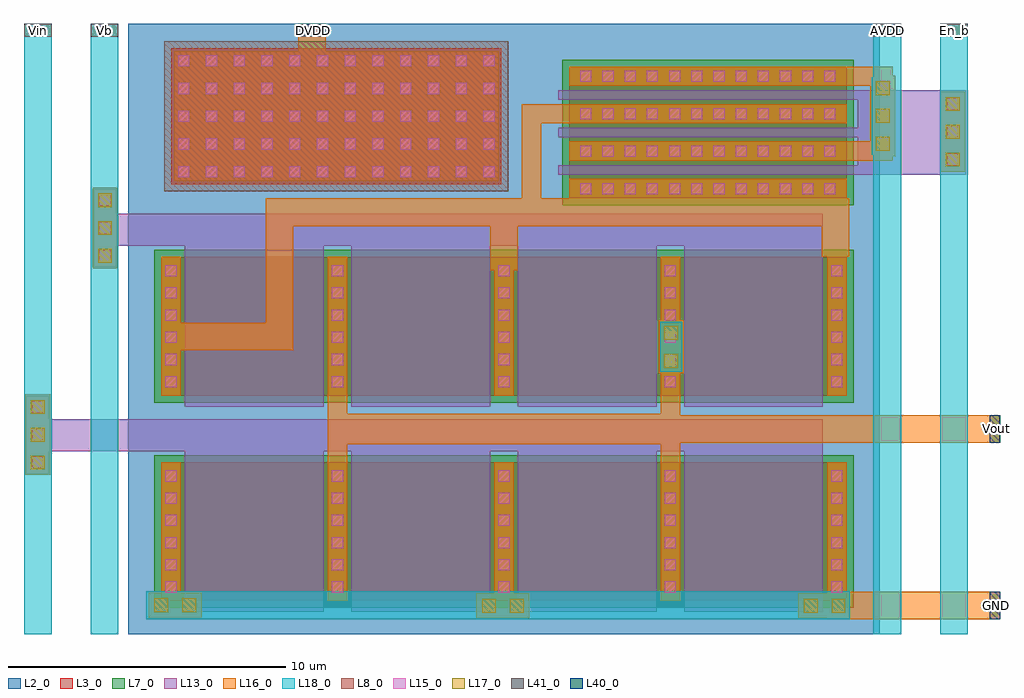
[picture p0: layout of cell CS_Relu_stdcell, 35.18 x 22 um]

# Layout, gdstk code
from math import pi, radians
import gdstk
lib = gdstk.Library(unit=1e-6, precision=1e-09)
def R(c, l, rs):  # rectangles x0, y0, x1, y1
    for r in rs: c.add(gdstk.rectangle(r[:2], r[2:], *l))
def A(c, l, x, y, w, h, nx, ny, dx, dy):  # array of equal rectangles
    R(c, l, [(x+i*dx, y+j*dy, x+i*dx+w, y+j*dy+h) for i in range(nx) for j in range(ny)])
L2_0 = (2, 0)
L3_0 = (3, 0)
L7_0 = (7, 0)
L8_0 = (8, 0)
L13_0 = (13, 0)
L15_0 = (15, 0)
L16_0 = (16, 0)
L17_0 = (17, 0)
L18_0 = (18, 0)
L40_0 = (40, 0)
L41_0 = (41, 0)

pch_cdns_760367778550 = lib.new_cell('pch_CDNS_760367778550')
R(pch_cdns_760367778550, L2_0, [(-2.05,-1.2,5.1,11.2)])
A(pch_cdns_760367778550, L3_0, -0.85, 0, 0.7, 10, 4, 1, 1.35, 0)
A(pch_cdns_760367778550, L3_0, -0.15, 0, 0.65, 10, 3, 1, 1.35, 0)
R(pch_cdns_760367778550, L3_0, [(-0.85,0,-0.15,10), (3.2,0,3.9,10)])
R(pch_cdns_760367778550, L7_0, [(-1.1,-0.25,4.15,10.25)])
A(pch_cdns_760367778550, L13_0, 0, -0.4, 0.35, 10.8, 3, 1, 1.35, 0)
A(pch_cdns_760367778550, L15_0, -0.7, 0.4, 0.4, 0.4, 4, 12, 1.35, 0.8)
A(pch_cdns_760367778550, L16_0, -0.85, 0, 0.7, 10, 4, 1, 1.35, 0)
pch_cdns_760367778550.add(gdstk.Label('D', (0.85,5), layer=59, texttype=0))
pch_cdns_760367778550.add(gdstk.Label('D', (3.55,5), layer=59, texttype=0))
pch_cdns_760367778550.add(gdstk.Label('S', (2.2,5), layer=59, texttype=0))
pch_cdns_760367778550.add(gdstk.Label('S', (-0.5,5), layer=59, texttype=0))
pch_cdns_760367778550.add(gdstk.Label('G', (2.875,5), layer=59, texttype=0))
pch_cdns_760367778550.add(gdstk.Label('G', (1.525,5), layer=59, texttype=0))
pch_cdns_760367778550.add(gdstk.Label('G', (0.175,5), layer=59, texttype=0))
pch_cdns_760367778550.add(gdstk.Label('& SerialNumber 000000', (0,0), layer=16, texttype=0))
pch_cdns_760367778550.add(gdstk.Label('& Distributor VIS', (0,0), layer=16, texttype=0))
pch_cdns_760367778550.add(gdstk.Label('& Metric 1', (0,0), layer=16, texttype=0))
pch_cdns_760367778550.add(gdstk.Label('& Version    \t  1.7A', (0,0), layer=16, texttype=0))
pch_cdns_760367778550.add(gdstk.Label('& PDKName     vis35cv', (0,0), layer=16, texttype=0))
pch_cdns_760367778550.add(gdstk.Label('& Vendor VIS Corp.', (0,0), layer=16, texttype=0))
pch_cdns_760367778550.add(gdstk.Label('& SerialNumber 000000', (0,0), layer=63, texttype=63))
pch_cdns_760367778550.add(gdstk.Label('& Distributor VIS', (0,0), layer=63, texttype=63))
pch_cdns_760367778550.add(gdstk.Label('& Metric 1', (0,0), layer=63, texttype=63))
pch_cdns_760367778550.add(gdstk.Label('& Version    \t  1.7A', (0,0), layer=63, texttype=63))
pch_cdns_760367778550.add(gdstk.Label('& PDKName     vis35cv', (0,0), layer=63, texttype=63))
pch_cdns_760367778550.add(gdstk.Label('& Vendor VIS Corp.', (0,0), layer=63, texttype=63))

pch_cdns_760367778551 = lib.new_cell('pch_CDNS_760367778551')
R(pch_cdns_760367778551, L2_0, [(-2.05,-1.2,25.05,6.2)])
A(pch_cdns_760367778551, L3_0, -0.85, 0, 0.7, 5, 5, 1, 6, 0)
A(pch_cdns_760367778551, L3_0, -0.15, 0, 5.3, 5, 4, 1, 6, 0)
R(pch_cdns_760367778551, L3_0, [(-0.85,0,-0.15,5), (23.15,0,23.85,5)])
R(pch_cdns_760367778551, L7_0, [(-1.1,-0.25,24.1,5.25)])
A(pch_cdns_760367778551, L13_0, 0, -0.4, 5, 5.8, 4, 1, 6, 0)
A(pch_cdns_760367778551, L15_0, -0.7, 0.3, 0.4, 0.4, 5, 6, 6, 0.8)
A(pch_cdns_760367778551, L16_0, -0.85, 0, 0.7, 5, 5, 1, 6, 0)
pch_cdns_760367778551.add(gdstk.Label('D', (17.5,2.5), layer=59, texttype=0))
pch_cdns_760367778551.add(gdstk.Label('D', (5.5,2.5), layer=59, texttype=0))
pch_cdns_760367778551.add(gdstk.Label('S', (11.5,2.5), layer=59, texttype=0))
pch_cdns_760367778551.add(gdstk.Label('S', (-0.5,2.5), layer=59, texttype=0))
pch_cdns_760367778551.add(gdstk.Label('S', (23.5,2.5), layer=59, texttype=0))
pch_cdns_760367778551.add(gdstk.Label('G', (20.5,2.5), layer=59, texttype=0))
pch_cdns_760367778551.add(gdstk.Label('G', (14.5,2.5), layer=59, texttype=0))
pch_cdns_760367778551.add(gdstk.Label('G', (8.5,2.5), layer=59, texttype=0))
pch_cdns_760367778551.add(gdstk.Label('G', (2.5,2.5), layer=59, texttype=0))
pch_cdns_760367778551.add(gdstk.Label('& SerialNumber 000000', (0,0), layer=16, texttype=0))
pch_cdns_760367778551.add(gdstk.Label('& Distributor VIS', (0,0), layer=16, texttype=0))
pch_cdns_760367778551.add(gdstk.Label('& Metric 1', (0,0), layer=16, texttype=0))
pch_cdns_760367778551.add(gdstk.Label('& Version    \t  1.7A', (0,0), layer=16, texttype=0))
pch_cdns_760367778551.add(gdstk.Label('& PDKName     vis35cv', (0,0), layer=16, texttype=0))
pch_cdns_760367778551.add(gdstk.Label('& Vendor VIS Corp.', (0,0), layer=16, texttype=0))
pch_cdns_760367778551.add(gdstk.Label('& SerialNumber 000000', (0,0), layer=63, texttype=63))
pch_cdns_760367778551.add(gdstk.Label('& Distributor VIS', (0,0), layer=63, texttype=63))
pch_cdns_760367778551.add(gdstk.Label('& Metric 1', (0,0), layer=63, texttype=63))
pch_cdns_760367778551.add(gdstk.Label('& Version    \t  1.7A', (0,0), layer=63, texttype=63))
pch_cdns_760367778551.add(gdstk.Label('& PDKName     vis35cv', (0,0), layer=63, texttype=63))
pch_cdns_760367778551.add(gdstk.Label('& Vendor VIS Corp.', (0,0), layer=63, texttype=63))

m2_m1_cdns_760367778550 = lib.new_cell('M2_M1_CDNS_760367778550')
R(m2_m1_cdns_760367778550, L16_0, [(-0.45,-0.95,0.45,0.95)])
R(m2_m1_cdns_760367778550, L17_0, [(-0.25,-0.75,0.25,-0.25), (-0.25,0.25,0.25,0.75)])
R(m2_m1_cdns_760367778550, L18_0, [(-0.4,-0.9,0.4,0.9)])

m2_m1_cdns_760367778551 = lib.new_cell('M2_M1_CDNS_760367778551')
R(m2_m1_cdns_760367778551, L16_0, [(-0.45,-1.45,0.45,1.45)])
A(m2_m1_cdns_760367778551, L17_0, -0.25, -1.25, 0.5, 0.5, 1, 3, 0, 1)
R(m2_m1_cdns_760367778551, L18_0, [(-0.4,-1.4,0.4,1.4)])

m1_poly1_cdns_7603677785 = lib.new_cell('M1_POLY1_CDNS_760367778552')
R(m1_poly1_cdns_7603677785, L13_0, [(-0.4,-1.4,0.4,1.4)])
A(m1_poly1_cdns_7603677785, L15_0, -0.2, -1.2, 0.4, 0.4, 1, 3, 0, 1)
R(m1_poly1_cdns_7603677785, L16_0, [(-0.45,-1.45,0.45,1.45)])

m2_m1_cdns_760367778553 = lib.new_cell('M2_M1_CDNS_760367778553')
R(m2_m1_cdns_760367778553, L16_0, [(-0.95,-0.45,0.95,0.45)])
R(m2_m1_cdns_760367778553, L17_0, [(-0.75,-0.25,-0.25,0.25), (0.25,-0.25,0.75,0.25)])
R(m2_m1_cdns_760367778553, L18_0, [(-0.9,-0.4,0.9,0.4)])

m1_nactive_cdns_76036777 = lib.new_cell('M1_NACTIVE_CDNS_760367778554')
R(m1_nactive_cdns_76036777, L3_0, [(-5.95,-2.45,5.95,2.45)])
R(m1_nactive_cdns_76036777, L8_0, [(-6.2,-2.7,6.2,2.7)])
A(m1_nactive_cdns_76036777, L15_0, -5.7, -2.2, 0.4, 0.4, 12, 5, 1, 1)
R(m1_nactive_cdns_76036777, L16_0, [(-5.85,-2.35,5.85,2.35)])

cs_relu_stdcell = lib.new_cell('CS_Relu_stdcell')
R(cs_relu_stdcell, L2_0, [(3.75,14.8,18.45,21.66), (3.75,21.66,30.85,22)])
R(cs_relu_stdcell, L13_0, [(0.52,6.6,28.79,7.75), (2.52,14,28.79,15.15), (30.05,16.56,33.96,19.61)])
R(cs_relu_stdcell, L16_0, [(11.29,6.85,23.26,7.95), (9.88,20.83,10.87,22)])
R(cs_relu_stdcell, L40_0, [(34.81,0.53,35.18,1.53), (34.81,6.9,35.18,7.9), (9.88,21.56,10.87,22)])
R(cs_relu_stdcell, L41_0, [(0,21.53,1,22), (2.4,21.53,3.4,22), (30.62,21.53,31.62,22), (33.02,21.53,34.02,22)])
cs_relu_stdcell.add(gdstk.FlexPath([(9.21,11.08),(9.21,15.21)], 1, ends=(0, 0.5), simple_path=True, layer=16, datatype=0))  # L16_0
cs_relu_stdcell.add(gdstk.FlexPath([(5.51,10.73),(9.21,10.73)], 1, ends="extended", simple_path=True, layer=16, datatype=0))  # L16_0
cs_relu_stdcell.add(gdstk.FlexPath([(30.97,20.11),(29.65,20.11)], 0.7, ends=(0.35, 0), simple_path=True, layer=16, datatype=0))  # L16_0
cs_relu_stdcell.add(gdstk.FlexPath([(30.97,17.41),(29.65,17.41)], 0.7, ends=(0.35, 0), simple_path=True, layer=16, datatype=0))  # L16_0
cs_relu_stdcell.add(gdstk.FlexPath([(30.97,20.11),(30.97,17.41)], 0.7, ends="extended", simple_path=True, layer=16, datatype=0))  # L16_0
cs_relu_stdcell.add(gdstk.FlexPath([(18.3,18.76),(18.3,15.21)], 0.7, ends=(0.35, 0.5), simple_path=True, layer=16, datatype=0))  # L16_0
cs_relu_stdcell.add(gdstk.FlexPath([(19.65,18.76),(18.3,18.76)], 0.7, ends=(0, 0.35), simple_path=True, layer=16, datatype=0))  # L16_0
cs_relu_stdcell.add(gdstk.FlexPath([(17.3,13.12),(17.3,15.21)], 1, ends=(0, 0.5), simple_path=True, layer=16, datatype=0))  # L16_0
cs_relu_stdcell.add(gdstk.FlexPath([(29.25,15.21),(29.25,13.6)], 1, ends=(0.5, 0), simple_path=True, layer=16, datatype=0))  # L16_0
cs_relu_stdcell.add(gdstk.FlexPath([(9.21,15.21),(29.25,15.21)], 1, ends="extended", simple_path=True, layer=16, datatype=0))  # L16_0
cs_relu_stdcell.add(gdstk.FlexPath([(11.3,6.2),(11.3,8.6)], 0.7, ends="flush", simple_path=True, layer=16, datatype=0))  # L16_0
cs_relu_stdcell.add(gdstk.FlexPath([(23.3,6.2),(23.3,7.4)], 0.7, ends=(0, 0.5), simple_path=True, layer=16, datatype=0))  # L16_0
cs_relu_stdcell.add(gdstk.FlexPath([(22.68,7.4),(23.3,7.4)], 1, ends=(0, 0.35), simple_path=True, layer=16, datatype=0))  # L16_0
cs_relu_stdcell.add(gdstk.FlexPath([(23.3,7.4),(35.17,7.4)], 1, ends=(0.35, 0), simple_path=True, layer=16, datatype=0))  # L16_0
cs_relu_stdcell.add(gdstk.FlexPath([(23.3,7.4),(23.3,8.6)], 0.7, ends=(0.5, 0), simple_path=True, layer=16, datatype=0))  # L16_0
cs_relu_stdcell.add(gdstk.FlexPath([(28.95,1.03),(35.18,1.03)], 1, ends="flush", simple_path=True, layer=16, datatype=0))  # L16_0
cs_relu_stdcell.add(gdstk.FlexPath([(33.52,22),(33.52,0)], 1, ends="flush", simple_path=True, layer=18, datatype=0))  # L18_0
cs_relu_stdcell.add(gdstk.FlexPath([(31.12,22),(31.12,0)], 1, ends="flush", simple_path=True, layer=18, datatype=0))  # L18_0
cs_relu_stdcell.add(gdstk.FlexPath([(5.31,1.04),(29.26,1.04)], 1, ends=(0.9, 0.5), simple_path=True, layer=18, datatype=0))  # L18_0
cs_relu_stdcell.add(gdstk.FlexPath([(2.9,22),(2.9,0)], 1, ends="flush", simple_path=True, layer=18, datatype=0))  # L18_0
cs_relu_stdcell.add(gdstk.FlexPath([(29.26,1.04),(29.26,1.03)], 1, ends=(0.5, 0), simple_path=True, layer=18, datatype=0))  # L18_0
cs_relu_stdcell.add(gdstk.FlexPath([(0.5,22),(0.5,0)], 1, ends="flush", simple_path=True, layer=18, datatype=0))  # L18_0
r = gdstk.Reference(pch_cdns_760367778550, (19.65,19.61), rotation=3*pi/2); r.repetition = gdstk.Repetition(1, 1, v1=(0,-4.45), v2=(4.4,0)); cs_relu_stdcell.add(r)
r = gdstk.Reference(pch_cdns_760367778551, (5.8,1.2)); r.repetition = gdstk.Repetition(1, 1, v1=(4.45,0), v2=(0,4.4)); cs_relu_stdcell.add(r)
r = gdstk.Reference(pch_cdns_760367778551, (5.8,8.6)); r.repetition = gdstk.Repetition(1, 1, v1=(4.45,0), v2=(0,4.4)); cs_relu_stdcell.add(r)
cs_relu_stdcell.add(gdstk.Reference(m2_m1_cdns_760367778550, (23.33,10.36)))
cs_relu_stdcell.add(gdstk.Reference(m2_m1_cdns_760367778551, (0.49,7.19)))
cs_relu_stdcell.add(gdstk.Reference(m2_m1_cdns_760367778551, (33.48,18.11)))
cs_relu_stdcell.add(gdstk.Reference(m2_m1_cdns_760367778551, (30.95,18.68)))
cs_relu_stdcell.add(gdstk.Reference(m2_m1_cdns_760367778551, (2.92,14.64)))
cs_relu_stdcell.add(gdstk.Reference(m1_poly1_cdns_7603677785, (2.92,14.64)))
cs_relu_stdcell.add(gdstk.Reference(m1_poly1_cdns_7603677785, (0.49,7.19)))
cs_relu_stdcell.add(gdstk.Reference(m1_poly1_cdns_7603677785, (33.48,18.11)))
cs_relu_stdcell.add(gdstk.Reference(m2_m1_cdns_760367778553, (28.86,1.03)))
cs_relu_stdcell.add(gdstk.Reference(m2_m1_cdns_760367778553, (17.26,1.03)))
cs_relu_stdcell.add(gdstk.Reference(m2_m1_cdns_760367778553, (5.45,1.04)))
cs_relu_stdcell.add(gdstk.Reference(m1_nactive_cdns_76036777, (11.26,18.67)))
cs_relu_stdcell.add(gdstk.Label('En_b', (33.53,21.77), layer=41, texttype=0))
cs_relu_stdcell.add(gdstk.Label('AVDD', (31.14,21.77), layer=41, texttype=0))
cs_relu_stdcell.add(gdstk.Label('Vb', (2.91,21.77), layer=41, texttype=0))
cs_relu_stdcell.add(gdstk.Label('Vin', (0.51,21.77), layer=41, texttype=0))
cs_relu_stdcell.add(gdstk.Label('DVDD', (10.42,21.75), layer=40, texttype=0))
cs_relu_stdcell.add(gdstk.Label('GND', (35.05,1.05), layer=40, texttype=0))
cs_relu_stdcell.add(gdstk.Label('Vout', (35.05,7.42), layer=40, texttype=0))

lib.write_gds('CS_Relu_stdcell.gds')
